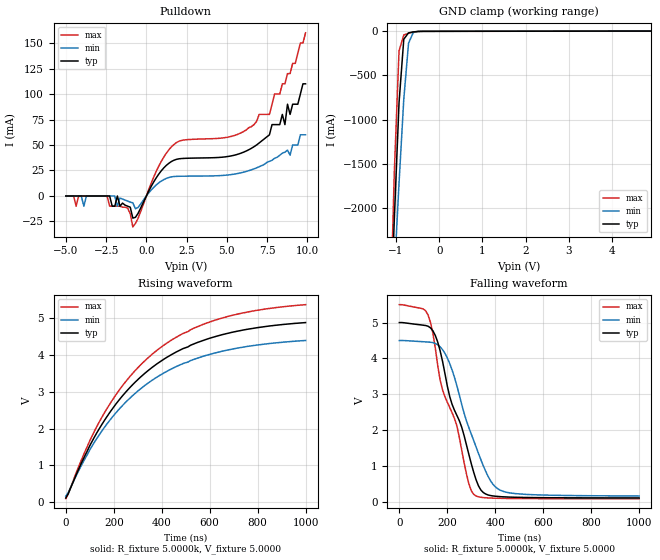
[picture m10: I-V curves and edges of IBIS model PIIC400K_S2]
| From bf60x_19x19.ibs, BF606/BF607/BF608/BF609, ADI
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[Model]  PIIC400K_S2
Model_type I/O_open_drain
Polarity   Non-Inverting
Enable   Active-Low
Vinl =   1.5000V
Vinh =   3.5000V
Vmeas =  2.5000V
Cref =   50.0000pF
Rref =   5.0000k
Vref =   5.0000V
C_comp   5.3246pF   5.6155pF   5.1879pF
[Temperature Range]   25.0000   0.1250k   -40.0000
[Voltage Range]   5.0000V   4.5000V   5.5000V
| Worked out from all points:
|   slope of the pulldown table from 0 to 0.75 V, typ, clamps not added: 35.7 ohm
|   rising waveform, R_fixture 5.0000k, V_fixture 5.0000: 20-80 % time 354ns typ, 353ns min, 354ns max; typ from 0.118 V to 4.88 V
|   falling waveform, R_fixture 5.0000k, V_fixture 5.0000: 20-80 % time 122ns typ, 127ns min, 121ns max; typ from 5 V to 0.118 V
[Pulldown]
|Voltage   I(typ)   I(min)   I(max)
-5V       0A         0A         0A
-2.44V    0A         0A         0A
-1.16V    -10mA      -5mA       -12mA
-840mV    -21.7mA    -6.7mA     -30.27mA
1.72V     35.12mA    19.11mA    50.62mA
5.56V     40.4mA     21.72mA    59.82mA
7.64V     60mA       34mA       80mA
8.44V     80mA       42mA       110mA
8.6V      70mA       43mA       110mA
8.76V     90mA       45mA       120mA
8.92V     80mA       40mA       120mA
9.88V     110mA      60mA       160mA
[GND_clamp]
|Voltage   I(typ)   I(min)   I(max)
-5V       -58.53A    -43.57A    -79.55A
-1.15V    -3.584A    -3.82A     -3.551A
-1.04V    -2.134A    -2.748A    -1.605A
-930mV    -808.3mA   -1.715A    -223.1mA
-820mV    -91.52mA   -767.6mA   -43.88mA
-710mV    -20.73mA   -136.6mA   -24.53mA
-600mV    -9.814mA   -16.26mA   -11.14mA
-380mV    -3.218mA   -3.086mA   -3.477mA
4.9V      -58.13uA   235.9uA    -351.9uA
[Ramp]
| variable   typ   min   max
dV/dt_r  2.8545/0.3546u   2.5328/0.3540u   3.1580/0.3547u
dV/dt_f  2.9283/0.1225u   2.5956/0.1265u   3.2397/0.1211u
R_load = 5.0000k
[Rising Waveform]
R_fixture= 5.0000k
V_fixture= 5.0000
V_fixture_min= 4.5000
V_fixture_max= 5.5000
|time   V(typ)   V(min)   V(max)
0s        117.5mV    167.7mV    97.67mV
100ns     1.535V     1.42V      1.671V
170ns     2.308V     2.11V      2.523V
260ns     3.061V     2.779V     3.355V
310ns     3.387V     3.068V     3.714V
370ns     3.707V     3.353V     4.07V
480ns     4.141V     3.737V     4.549V
630ns     4.507V     4.062V     4.956V
800ns     4.738V     4.267V     5.21V
1us       4.875V     4.389V     5.361V
[Falling Waveform]
R_fixture= 5.0000k
V_fixture= 5.0000
V_fixture_min= 4.5000
V_fixture_max= 5.5000
|time   V(typ)   V(min)   V(max)
0s        4.999V     4.499V     5.497V
120ns     4.896V     4.457V     5.206V
160ns     4.457V     4.381V     3.809V
200ns     3.234V     4.014V     2.783V
240ns     2.415V     3.24V      2.121V
290ns     1.328V     2.073V     512.3mV
310ns     835.9mV    1.719V     219.5mV
350ns     269.6mV    1.016V     128.7mV
430ns     150.3mV    309.1mV    106.1mV
1us       118.5mV    173mV      97.53mV
